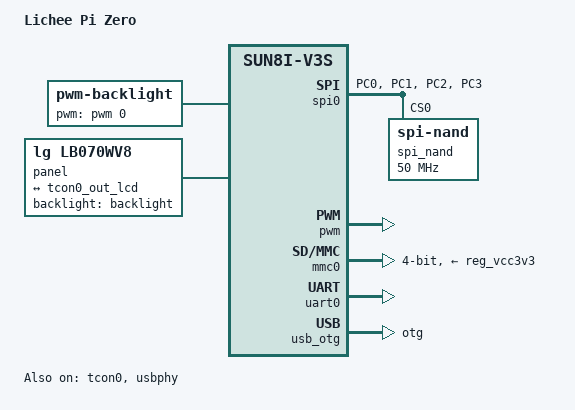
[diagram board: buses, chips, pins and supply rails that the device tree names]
/*
 * Copyright (C) 2016 Icenowy Zheng <icenowy@aosc.xyz>
 *
 * This file is dual-licensed: you can use it either under the terms
 * of the GPL or the X11 license, at your option. Note that this dual
 * licensing only applies to this file, and not this project as a
 * whole.
 *
 *  a) This file is free software; you can redistribute it and/or
 *     modify it under the terms of the GNU General Public License as
 *     published by the Free Software Foundation; either version 2 of the
 *     License, or (at your option) any later version.
 *
 *     This file is distributed in the hope that it will be useful,
 *     but WITHOUT ANY WARRANTY; without even the implied warranty of
 *     MERCHANTABILITY or FITNESS FOR A PARTICULAR PURPOSE.  See the
 *     GNU General Public License for more details.
 *
 * Or, alternatively,
 *
 *  b) Permission is hereby granted, free of charge, to any person
 *     obtaining a copy of this software and associated documentation
 *     files (the "Software"), to deal in the Software without
 *     restriction, including without limitation the rights to use,
 *     copy, modify, merge, publish, distribute, sublicense, and/or
 *     sell copies of the Software, and to permit persons to whom the
 *     Software is furnished to do so, subject to the following
 *     conditions:
 *
 *     The above copyright notice and this permission notice shall be
 *     included in all copies or substantial portions of the Software.
 *
 *     THE SOFTWARE IS PROVIDED "AS IS", WITHOUT WARRANTY OF ANY KIND,
 *     EXPRESS OR IMPLIED, INCLUDING BUT NOT LIMITED TO THE WARRANTIES
 *     OF MERCHANTABILITY, FITNESS FOR A PARTICULAR PURPOSE AND
 *     NONINFRINGEMENT. IN NO EVENT SHALL THE AUTHORS OR COPYRIGHT
 *     HOLDERS BE LIABLE FOR ANY CLAIM, DAMAGES OR OTHER LIABILITY,
 *     WHETHER IN AN ACTION OF CONTRACT, TORT OR OTHERWISE, ARISING
 *     FROM, OUT OF OR IN CONNECTION WITH THE SOFTWARE OR THE USE OR
 *     OTHER DEALINGS IN THE SOFTWARE.
 */

/dts-v1/;
#include "sun8i-v3s.dtsi"
#include "sunxi-common-regulators.dtsi"

/ {
	model = "Lichee Pi Zero";
	compatible = "licheepi,licheepi-zero", "allwinner,sun8i-v3s";

	aliases {
		serial0 = &uart0;
	};

	chosen {
		stdout-path = "serial0:115200n8";
	};

	soc {
		spi0: spi@1c68000 {
			compatible = "allwinner,sun8i-h3-spi";
			reg = <0x01c68000 0x1000>;
			interrupts = <GIC_SPI 65 IRQ_TYPE_LEVEL_HIGH>;
			clocks = <&ccu CLK_BUS_SPI0>, <&ccu CLK_SPI0>;
			clock-names = "ahb", "mod";
			pinctrl-names = "default";
			pinctrl-0 = <&spi0_pins>;
			resets = <&ccu RST_BUS_SPI0>;
			status = "okay";
			#address-cells = <1>;
			#size-cells = <0>;
			spi_nand: spi-nand@0 {
				#address-cells = <1>;
				#size-cells = <1>;
				compatible = "spi-nand";
				reg = <0>;
				/* The layout on the DolphinPi is very good, 100mhz are possible! */
				spi-max-frequency = <50000000>;

				boot@0 {
					label = "boot";
					reg = <0x0000000 0x0100000>;
				};
				ubi0@100000 {
					label = "ubi0";
					reg = <0x0100000 0x0000000>;
				};
			};
		};
	};

	backlight: backlight {
        compatible = "pwm-backlight";
        pwms = <&pwm 0 50000 0>;
        brightness-levels = <0 2 4 8 16 32 64 128 255>;
        default-brightness-level = <8>;
    };

	panel: panel {
		compatible = "lg,lb070wv8", "simple-panel";
		backlight = <&backlight>;

		port {
			panel_input: endpoint {
				remote-endpoint = <&tcon0_out_lcd>;
			};
		};

		display-timings {
			timing0: timing0 {
				clock-frequency = <33000000>;
				hactive = <800>;
				vactive = <480>;

				hfront-porch = <40>;
				hsync-len = <1>;
				hback-porch = <87>;

				vback-porch = <31>;
				vsync-len = <1>;
				vfront-porch = <13>;
			};
		};
	};

};

&tcon0 {
	pinctrl-names = "default";
	pinctrl-0 = <&lcd_pins>;
	status = "okay";
};

&tcon0_out {
	tcon0_out_lcd: endpoint@0 {
		reg = <0>;
		remote-endpoint = <&panel_input>;
	};
};

&pwm {
	pinctrl-names = "default";
	pinctrl-0 = <&pwm0_pins>;
	status = "okay";
};

&mmc0 {
	pinctrl-0 = <&mmc0_pins_a>;
	pinctrl-names = "default";
	broken-cd;
	bus-width = <4>;
	vmmc-supply = <&reg_vcc3v3>;
	status = "okay";
};

&uart0 {
	pinctrl-0 = <&uart0_pins_a>;
	pinctrl-names = "default";
	status = "okay";
};

&usb_otg {
	dr_mode = "otg";
	status = "okay";
};

&usbphy {
	usb0_id_det-gpio = <&pio 5 6 GPIO_ACTIVE_HIGH>;
	status = "okay";
};

&pio {
	spi0_pins: spi0-pins {
		pins = "PC0", "PC1", "PC2", "PC3";
		function = "spi0";
		drive-strength = <10>;
		bias-disable;
	};

};
